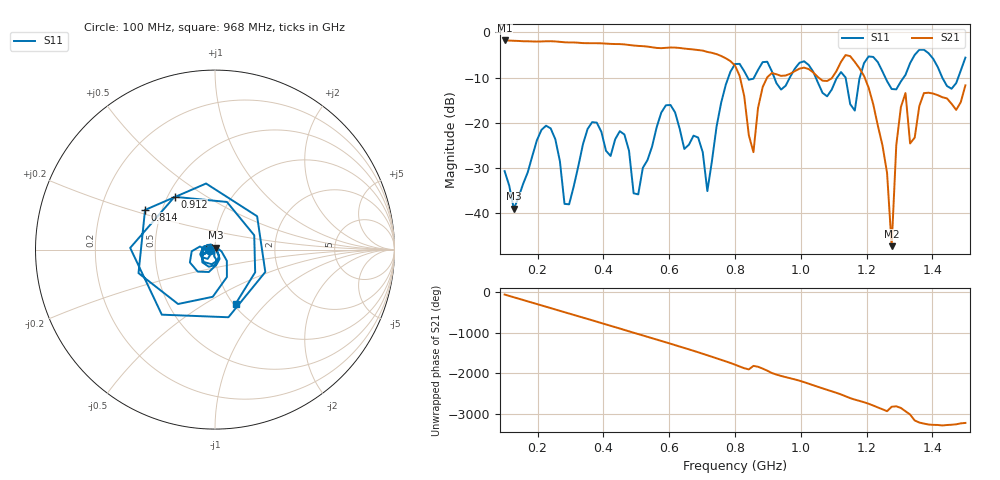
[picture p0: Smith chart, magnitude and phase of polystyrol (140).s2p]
! NanoVNA-App
! Date: 2025-09-25 15:30:59
! Start: 100MHz Stop: 1,5GHz Points: 101
! S-Parameter data: F S11 S21 S12 S22
# Hz S RI R 50
!  Frequency  S11_Real  S11_Imag  S21_Real  S21_Imag  S12_Real  S12_Imag  S22_Real  S22_Imag
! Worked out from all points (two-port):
!   101 points, 100 MHz to 1.5 GHz, reference 50 ohm
!   highest |S21| = -1.80 dB at 100 MHz (marker M1); lowest = -47.3 dB at 1.276 GHz (marker M2)
!   |S21| within 3 dB of the highest: start of sweep to 742.9 MHz
!   lowest |S11| = -39.0 dB at 128 MHz (marker M3), VSWR 1.02, Z = 50.3 + j1.07 ohm
!   |S11| at or under -10 dB: start of sweep to 779.8 MHz; 1.045 GHz to 1.11 GHz (65.17 MHz wide, 6.05 % of centre); 1.257 GHz to 1.312 GHz (55.59 MHz wide, 4.33 % of centre) (the widest 3 of 7)
!   S12 and S22 are empty: the file has one direction only
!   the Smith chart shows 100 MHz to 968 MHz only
!   S11 on the Smith chart (normalised r, x): 100 MHz: 0.94, -0.01; 814 MHz: 0.40, +0.22; 912 MHz: 0.54, +0.37; 968 MHz: 1.02, -0.69
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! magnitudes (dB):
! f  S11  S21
! 100 MHz  -30.7  -1.8
! 128 MHz  -39.0  -1.9
! 212 MHz  -21.6  -2.0
! 282 MHz  -37.9  -2.2
! 338 MHz  -24.8  -2.4
! 464 MHz  -22.6  -2.7
! 506 MHz  -35.8  -3.0
! 576 MHz  -17.8  -3.5
! 716 MHz  -35.1  -4.3
! 800 MHz  -7.0  -7.4
! 814 MHz  -7.0  -9.6
! 856 MHz  -10.3  -26.5
! 912 MHz  -8.6  -9.0
! 968 MHz  -9.8  -9.2
! 1.038 GHz  -8.8  -8.9
! 1.164 GHz  -17.3  -6.5
! 1.192 GHz  -6.8  -9.7
! 1.276 GHz  -12.5  -47.3
! 1.29 GHz  -12.6  -25.0
! 1.318 GHz  -9.4  -13.4
! 1.332 GHz  -6.8  -24.6
! 1.5 GHz  -5.6  -11.7
